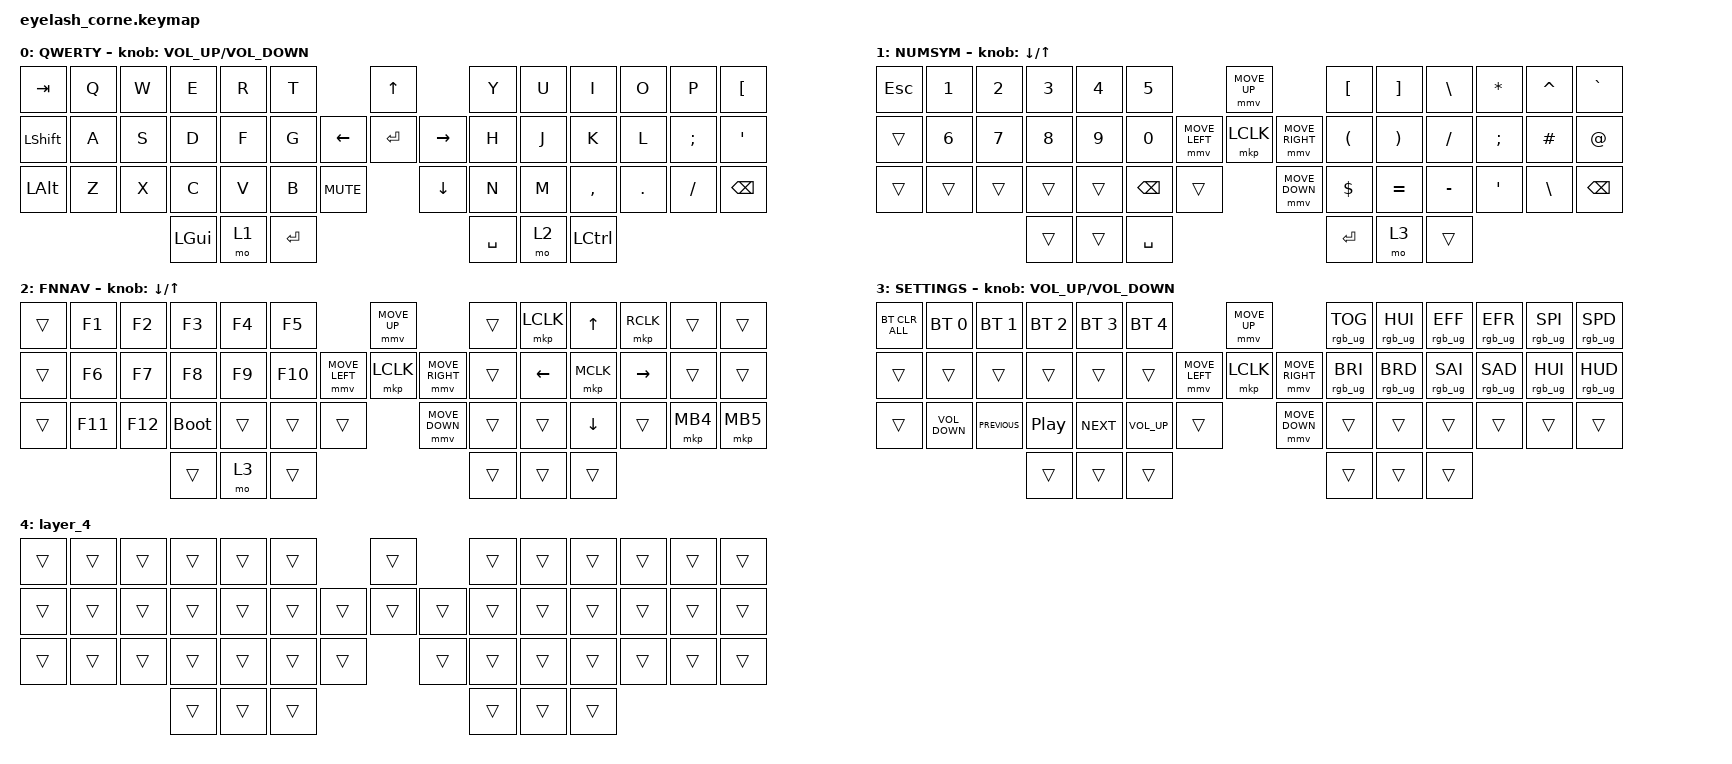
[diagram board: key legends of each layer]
#include "locale/keys_se.h"
#include "locale/keys_sv.h"
#include <input/processors.dtsi>
#include <dt-bindings/zmk/mouse.h>
#include <behaviors.dtsi>
#include <dt-bindings/zmk/bt.h>
#include <dt-bindings/zmk/keys.h>
#include <dt-bindings/zmk/pointing.h>
#include <dt-bindings/zmk/pointing.h>
#include <dt-bindings/zmk/pointing.h>
#include <dt-bindings/zmk/rgb.h>

/*

   &mmv_input_listener {
       input-processors = <&zip_xy_scaler 2 1>;
   };

   &msc_input_listener {
       input-processors = <&zip_xy_scaler 2 1>;
   };

 */

#define ZMK_MOUSE_DEFAULT_MOVE_VAL 1200  // 600
#define ZMK_MOUSE_DEFAULT_SCRL_VAL 20    // 10

/ {
    behaviors {
        td0: td0 {
            compatible = "zmk,behavior-tap-dance";
            display-name = "Shift/Caps Lock Tap Dance";
            #binding-cells = <0>;
            bindings = <&kp LEFT_SHIFT>, <&kp CAPS>;
        };

        rotate_scroll: rotate_scroll {
            compatible = "zmk,behavior-sensor-rotate";
            label = "ROTATE_SCROLL";
            #sensor-binding-cells = <0>;
            bindings = <&kp UP_ARROW>, <&kp DOWN_ARROW>;

            tap-ms = <15>;
        };

        page_scroll: page_scroll {
            compatible = "zmk,behavior-sensor-rotate-var";
            label = "PAGE_SCROLL";
            #sensor-binding-cells = <2>;
            bindings = <&kp>, <&kp>;

            tap-ms = <10>;
        };
    };

    rgb_encoder: rgb_encoder {
        compatible = "zmk,behavior-sensor-rotate";
        #sensor-binding-cells = <0>;
        bindings = <&rgb_ug RGB_BRI>, <&rgb_ug RGB_BRD>;
    };

    scroll_encoder: scroll_encoder {
        compatible = "zmk,behavior-sensor-rotate";
        #sensor-binding-cells = <0>;
        bindings = <&msc SCRL_DOWN>, <&msc SCRL_UP>;

        tap-ms = <30>;
    };

    combos {
        compatible = "zmk,combos";

        SETTINGS_COMBO {
            bindings = <&mo 3>;
            key-positions = <43 46>;
            layers = <3>;
        };
    };

    keymap {
        compatible = "zmk,keymap";

        QWERTY {
            display-name = "QWERTY";
            bindings = <
&kp TAB    &kp Q  &kp W  &kp E     &kp R  &kp T                            &kp UP                &kp Y      &kp U  &kp I      &kp O    &kp P          &kp LEFT_BRACKET
&kp LSHFT  &kp A  &kp S  &kp D     &kp F  &kp G                  &kp LEFT  &kp ENTER  &kp RIGHT  &kp H      &kp J  &kp K      &kp L    &kp SEMICOLON  &kp SQT
&kp LALT   &kp Z  &kp X  &kp C     &kp V  &kp B    &kp C_MUTE              &kp DOWN              &kp N      &kp M  &kp COMMA  &kp DOT  &kp SLASH      &kp BSPC
                         &kp LGUI  &mo 1  &kp RET                                                &kp SPACE  &mo 2  &kp LCTRL
            >;

            sensor-bindings = <&inc_dec_kp C_VOLUME_UP C_VOLUME_DOWN>;
        };

        NUMSYM {
            display-name = "NUMSYM";
            bindings = <
&kp ESCAPE  &kp N1  &kp N2  &kp N3  &kp N4  &kp N5                                   &mmv MOVE_UP                     &kp LEFT_BRACKET      &kp RIGHT_BRACKET      &kp BACKSLASH  &kp ASTRK         &kp CARET      &kp GRAVE
&trans      &kp N6  &kp N7  &kp N8  &kp N9  &kp N0                   &mmv MOVE_LEFT  &mkp LCLK       &mmv MOVE_RIGHT  &kp LEFT_PARENTHESIS  &kp RIGHT_PARENTHESIS  &kp SLASH      &kp SEMICOLON     &kp HASH       &kp AT
&trans      &trans  &trans  &trans  &trans  &kp BACKSPACE  &trans                    &mmv MOVE_DOWN                   &kp DOLLAR            &kp EQUAL              &kp MINUS      &kp SINGLE_QUOTE  &kp BACKSLASH  &kp BACKSPACE
                            &trans  &trans  &kp SPACE                                                                 &kp RET               &mo 3                  &trans
            >;

            sensor-bindings = <&page_scroll DOWN_ARROW UP_ARROW>;
        };

        FNNAV {
            display-name = "FNNAV";
            bindings = <
&trans  &kp F1   &kp F2   &kp F3       &kp F4  &kp F5                             &mmv MOVE_UP                     &trans  &mkp LCLK       &kp UP_ARROW    &mkp RCLK        &trans    &trans
&trans  &kp F6   &kp F7   &kp F8       &kp F9  &kp F10            &mmv MOVE_LEFT  &mkp LCLK       &mmv MOVE_RIGHT  &trans  &kp LEFT_ARROW  &mkp MCLK       &kp RIGHT_ARROW  &trans    &trans
&trans  &kp F11  &kp F12  &bootloader  &trans  &trans   &trans                    &mmv MOVE_DOWN                   &trans  &trans          &kp DOWN_ARROW  &trans           &mkp MB4  &mkp MB5
                          &trans       &mo 3   &trans                                                              &trans  &trans          &trans
            >;

            sensor-bindings = <&page_scroll DOWN_ARROW UP_ARROW>;
        };

        SETTINGS {
            display-name = "SETTINGS";
            bindings = <
&bt BT_CLR_ALL  &bt BT_SEL 0       &bt BT_SEL 1    &bt BT_SEL 2      &bt BT_SEL 3  &bt BT_SEL 4                               &mmv MOVE_UP                     &rgb_ug RGB_TOG  &rgb_ug RGB_HUI  &rgb_ug RGB_EFF  &rgb_ug RGB_EFR  &rgb_ug RGB_SPI  &rgb_ug RGB_SPD
&trans          &trans             &trans          &trans            &trans        &trans                     &mmv MOVE_LEFT  &mkp LCLK       &mmv MOVE_RIGHT  &rgb_ug RGB_BRI  &rgb_ug RGB_BRD  &rgb_ug RGB_SAI  &rgb_ug RGB_SAD  &rgb_ug RGB_HUI  &rgb_ug RGB_HUD
&trans          &kp C_VOLUME_DOWN  &kp C_PREVIOUS  &kp C_PLAY_PAUSE  &kp C_NEXT    &kp C_VOLUME_UP  &trans                    &mmv MOVE_DOWN                   &trans           &trans           &trans           &trans           &trans           &trans
                                                   &trans            &trans        &trans                                                                      &trans           &trans           &trans
            >;

            sensor-bindings = <&inc_dec_kp C_VOLUME_UP C_VOLUME_DOWN>;
        };

        layer_4 {
            bindings = <
&trans  &trans  &trans  &trans  &trans  &trans                    &trans          &trans  &trans  &trans  &trans  &trans  &trans
&trans  &trans  &trans  &trans  &trans  &trans            &trans  &trans  &trans  &trans  &trans  &trans  &trans  &trans  &trans
&trans  &trans  &trans  &trans  &trans  &trans  &trans            &trans          &trans  &trans  &trans  &trans  &trans  &trans
                        &trans  &trans  &trans                                    &trans  &trans  &trans
            >;
        };
    };
};
